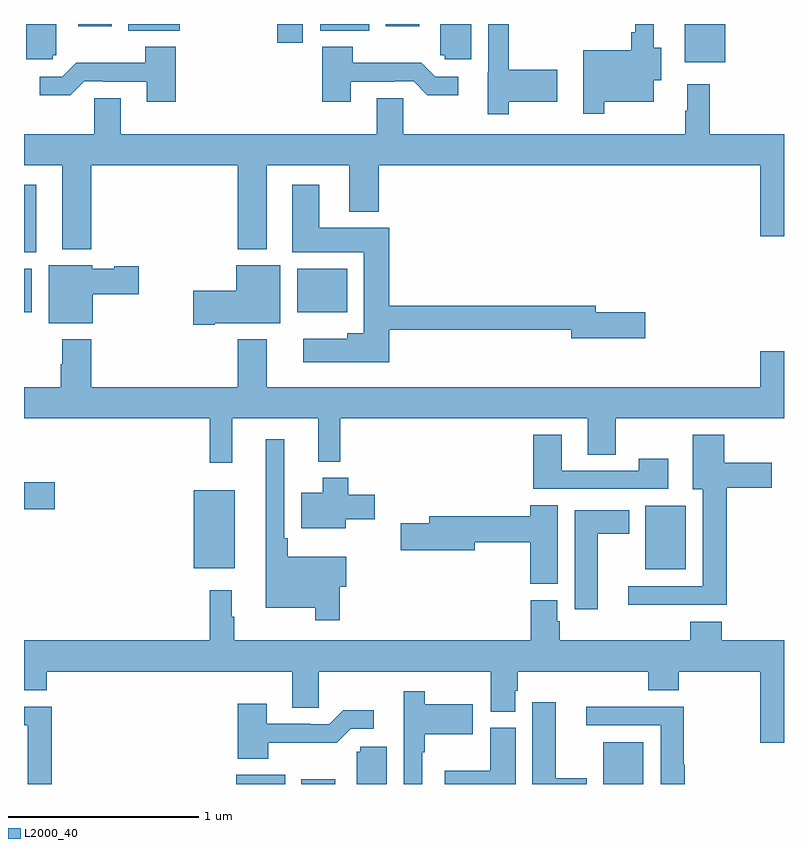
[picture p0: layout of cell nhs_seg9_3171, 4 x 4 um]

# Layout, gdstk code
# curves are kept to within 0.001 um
import gdstk
lib = gdstk.Library(unit=1e-6, precision=1e-09)
def R(c, l, rs):  # rectangles x0, y0, x1, y1
    for r in rs: c.add(gdstk.rectangle(r[:2], r[2:], *l))
def P(c, l, *ps):  # polygons
    for p in ps: c.add(gdstk.Polygon(p, *l))
L2000_40 = (2000, 40)

nhs_seg9_3171 = lib.new_cell('nhs_seg9_3171')
R(nhs_seg9_3171, L2000_40, [(294.116,1190.5,294.374,1190.548), (294.459,1190.5,294.637,1190.524), (296.048,1190.5,296.26,1190.719), (296.27,1191.629,296.482,1191.964), (293.894,1191.635,294.109,1192.045), (293,1191.947,293.161,1192.089), (293,1192.982,293.041,1193.212), (294.437,1192.982,294.7,1193.212), (293,1193.3,293.065,1193.653), (296.477,1194.299,296.692,1194.5), (294.332,1194.402,294.466,1194.5), (293.548,1194.464,293.819,1194.5), (294.56,1194.464,294.818,1194.5), (293.286,1194.488,293.463,1194.5), (294.903,1194.488,295.081,1194.5)])
P(nhs_seg9_3171, L2000_40, [(295.552,1194.092),(295.807,1194.092),(295.807,1194.258),(295.552,1194.258),(295.552,1194.5),(295.443,1194.5),(295.443,1194.246),(295.442,1194.246),(295.442,1194.024),(295.552,1194.024)],
  [(296.053,1194.092),(296.314,1194.092),(296.314,1194.203),(296.353,1194.203),(296.353,1194.374),(296.314,1194.374),(296.314,1194.5),(296.217,1194.5),(296.217,1194.457),(296.197,1194.457),(296.197,1194.361),(295.944,1194.361),(295.944,1194.027),(296.053,1194.027)],
  [(295.354,1194.5),(295.19,1194.5),(295.19,1194.336),(295.215,1194.336),(295.215,1194.315),(295.354,1194.315)],
  [(293.151,1194.336),(293.17,1194.336),(293.17,1194.5),(293.012,1194.5),(293.012,1194.315),(293.151,1194.315)],
  [(293.798,1194.379),(293.638,1194.379),(293.638,1194.295),(293.275,1194.295),(293.202,1194.222),(293.082,1194.222),(293.082,1194.125),(293.243,1194.125),(293.316,1194.198),(293.416,1194.198),(293.416,1194.195),(293.645,1194.195),(293.645,1194.09),(293.798,1194.09)],
  [(294.721,1194.195),(294.95,1194.195),(294.95,1194.198),(295.05,1194.198),(295.123,1194.125),(295.285,1194.125),(295.285,1194.222),(295.164,1194.222),(295.091,1194.295),(294.729,1194.295),(294.729,1194.379),(294.569,1194.379),(294.569,1194.09),(294.721,1194.09)],
  [(293.354,1193.756),(294.125,1193.756),(294.125,1193.315),(294.277,1193.315),(294.277,1193.756),(294.713,1193.756),(294.713,1193.513),(294.866,1193.513),(294.866,1193.756),(296.876,1193.756),(296.876,1193.382),(297,1193.382),(297,1193.92),(296.609,1193.92),(296.609,1194.184),(296.492,1194.184),(296.492,1194.044),(296.481,1194.044),(296.481,1193.92),(294.996,1193.92),(294.996,1194.11),(294.857,1194.11),(294.857,1193.92),(293.509,1193.92),(293.509,1194.11),(293.37,1194.11),(293.37,1193.92),(293,1193.92),(293,1193.756),(293.201,1193.756),(293.201,1193.315),(293.354,1193.315)],
  [(294.923,1192.89),(295.88,1192.89),(295.88,1192.847),(296.269,1192.847),(296.269,1192.982),(296.008,1192.982),(296.008,1193.018),(294.923,1193.018),(294.923,1193.428),(294.553,1193.428),(294.553,1193.653),(294.413,1193.653),(294.413,1193.3),(294.788,1193.3),(294.788,1192.873),(294.701,1192.873),(294.701,1192.843),(294.471,1192.843),(294.471,1192.721),(294.923,1192.721)],
  [(294.004,1192.925),(294.349,1192.925),(294.349,1193.23),(294.116,1193.23),(294.116,1193.096),(293.892,1193.096),(293.892,1192.918),(294.004,1192.918)],
  [(293.362,1193.078),(293.605,1193.078),(293.605,1193.225),(293.475,1193.225),(293.475,1193.212),(293.358,1193.212),(293.358,1193.23),(293.129,1193.23),(293.129,1192.925),(293.362,1192.925)],
  [(294.095,1192.424),(294.548,1192.424),(294.548,1192.196),(294.665,1192.196),(294.665,1192.424),(295.967,1192.424),(295.967,1192.234),(296.115,1192.234),(296.115,1192.424),(297,1192.424),(297,1192.777),(296.876,1192.777),(296.876,1192.588),(294.277,1192.588),(294.277,1192.84),(294.125,1192.84),(294.125,1192.588),(293.354,1192.588),(293.354,1192.84),(293.201,1192.84),(293.201,1192.709),(293.194,1192.709),(293.194,1192.588),(293,1192.588),(293,1192.424),(293.977,1192.424),(293.977,1192.191),(294.095,1192.191)],
  [(296.699,1192.058),(296.935,1192.058),(296.935,1192.192),(296.686,1192.192),(296.686,1192.339),(296.519,1192.339),(296.519,1192.052),(296.573,1192.052),(296.573,1191.54),(296.181,1191.54),(296.181,1191.443),(296.699,1191.443)],
  [(296.392,1192.213),(296.236,1192.213),(296.236,1192.149),(295.831,1192.149),(295.831,1192.339),(295.679,1192.339),(295.679,1192.053),(296.392,1192.053)],
  [(294.662,1191.539),(294.697,1191.539),(294.697,1191.697),(294.389,1191.697),(294.389,1191.793),(294.369,1191.793),(294.369,1192.315),(294.272,1192.315),(294.272,1191.428),(294.534,1191.428),(294.534,1191.363),(294.662,1191.363)],
  [(294.694,1191.893),(294.847,1191.893),(294.847,1192.023),(294.707,1192.023),(294.707,1192.111),(294.572,1192.111),(294.572,1192.033),(294.458,1192.033),(294.458,1191.845),(294.694,1191.845)],
  [(295.81,1191.968),(295.664,1191.968),(295.664,1191.908),(295.133,1191.908),(295.133,1191.872),(294.984,1191.872),(294.984,1191.73),(295.372,1191.73),(295.372,1191.772),(295.664,1191.772),(295.664,1191.553),(295.81,1191.553)],
  [(296.02,1191.818),(296.185,1191.818),(296.185,1191.94),(295.898,1191.94),(295.898,1191.42),(296.02,1191.42)],
  [(297,1191.256),(296.672,1191.256),(296.672,1191.355),(296.507,1191.355),(296.507,1191.256),(295.82,1191.256),(295.82,1191.357),(295.807,1191.357),(295.807,1191.468),(295.667,1191.468),(295.667,1191.256),(294.106,1191.256),(294.106,1191.38),(294.094,1191.38),(294.094,1191.52),(293.977,1191.52),(293.977,1191.256),(293,1191.256),(293,1190.993),(293.12,1190.993),(293.12,1191.092),(294.413,1191.092),(294.413,1190.902),(294.552,1190.902),(294.552,1191.092),(295.457,1191.092),(295.457,1190.881),(295.585,1190.881),(295.585,1190.991),(295.598,1190.991),(295.598,1191.092),(296.285,1191.092),(296.285,1190.993),(296.445,1190.993),(296.445,1191.092),(296.876,1191.092),(296.876,1190.718),(297,1190.718)],
  [(295.095,1190.666),(295.108,1190.666),(295.108,1190.762),(295.363,1190.762),(295.363,1190.92),(295.108,1190.92),(295.108,1190.989),(294.998,1190.989),(294.998,1190.766),(294.999,1190.766),(294.999,1190.5),(295.095,1190.5)],
  [(295.963,1190.53),(295.798,1190.53),(295.798,1190.929),(295.676,1190.929),(295.676,1190.5),(295.963,1190.5)],
  [(294.285,1190.718),(294.647,1190.717),(294.72,1190.79),(294.841,1190.79),(294.841,1190.887),(294.679,1190.887),(294.606,1190.814),(294.506,1190.814),(294.506,1190.817),(294.277,1190.817),(294.277,1190.923),(294.125,1190.923),(294.125,1190.633),(294.285,1190.633)],
  [(296.477,1190.601),(296.472,1190.601),(296.472,1190.906),(295.959,1190.906),(295.959,1190.808),(296.351,1190.808),(296.351,1190.5),(296.477,1190.5)],
  [(293.147,1190.906),(293,1190.906),(293,1190.808),(293.021,1190.808),(293.021,1190.5),(293.147,1190.5)],
  [(295.588,1190.796),(295.454,1190.796),(295.454,1190.569),(295.214,1190.569),(295.214,1190.5),(295.588,1190.5)],
  [(294.91,1190.697),(294.771,1190.697),(294.771,1190.67),(294.752,1190.67),(294.752,1190.5),(294.91,1190.5)])

lib.write_gds('nhs_seg9_3171.gds')
